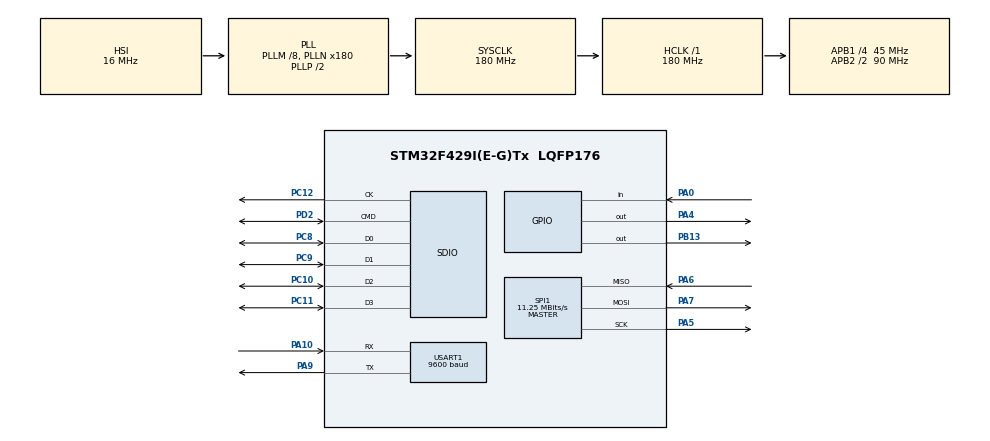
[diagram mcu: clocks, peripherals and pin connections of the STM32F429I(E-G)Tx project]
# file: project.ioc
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FATFS._CODE_PAGE=936
FATFS._MAX_SS=4096
Mcu.Family=STM32F4
Mcu.Name=STM32F429I(E-G)Tx
Mcu.Package=LQFP176
NVIC.PriorityGroup=NVIC_PRIORITYGROUP_4
NVIC.TIM7_IRQn=true\:15\:0\:false\:false\:true\:false\:true
NVIC.TimeBase=TIM7_IRQn
NVIC.TimeBaseIP=TIM7
PA0/WKUP.Signal=GPIO_Input
PA10.Mode=Asynchronous
PA10.Signal=USART1_RX
PA13.Mode=Serial_Wire
PA13.Signal=SYS_JTMS-SWDIO
PA14.Mode=Serial_Wire
PA14.Signal=SYS_JTCK-SWCLK
PA4.Signal=GPIO_Output
PA5.Mode=Full_Duplex_Master
PA5.Signal=SPI1_SCK
PA6.Mode=Full_Duplex_Master
PA6.Signal=SPI1_MISO
PA7.Mode=Full_Duplex_Master
PA7.Signal=SPI1_MOSI
PA9.Mode=Asynchronous
PA9.Signal=USART1_TX
PB13.Signal=GPIO_Output
PC10.Mode=SD_4_bits_Wide_bus
PC10.Signal=SDIO_D2
PC11.Mode=SD_4_bits_Wide_bus
PC11.Signal=SDIO_D3
PC12.Mode=SD_4_bits_Wide_bus
PC12.Signal=SDIO_CK
PC8.Mode=SD_4_bits_Wide_bus
PC8.Signal=SDIO_D0
PC9.Mode=SD_4_bits_Wide_bus
PC9.Signal=SDIO_D1
PD2.Mode=SD_4_bits_Wide_bus
PD2.Signal=SDIO_CMD
PH0/OSC_IN.Mode=HSE-External-Oscillator
PH0/OSC_IN.Signal=RCC_OSC_IN
PH1/OSC_OUT.Mode=HSE-External-Oscillator
PH1/OSC_OUT.Signal=RCC_OSC_OUT
ProjectManager.HeapSize=0x200
ProjectManager.StackSize=0x400
ProjectManager.TargetToolchain=MDK-ARM V5.32
RCC.48MHZClocksFreq_Value=45000000
RCC.AHBFreq_Value=180000000
RCC.APB1CLKDivider=RCC_HCLK_DIV4
RCC.APB1Freq_Value=45000000
RCC.APB1TimFreq_Value=90000000
RCC.APB2CLKDivider=RCC_HCLK_DIV2
RCC.APB2Freq_Value=90000000
RCC.APB2TimFreq_Value=180000000
RCC.CortexFreq_Value=180000000
RCC.HCLKFreq_Value=180000000
RCC.HSE_VALUE=25000000
RCC.HSI_VALUE=16000000
RCC.LSE_VALUE=32768
RCC.PLLM=8
RCC.PLLN=180
RCC.PLLQ=8
RCC.SYSCLKFreq_VALUE=180000000
RCC.SYSCLKSource=RCC_SYSCLKSOURCE_PLLCLK
RCC.VCOOutputFreq_Value=360000000
SDIO.ClockDiv=0
SPI1.BaudRatePrescaler=SPI_BAUDRATEPRESCALER_8
SPI1.CalculateBaudRate=11.25 MBits/s
SPI1.Direction=SPI_DIRECTION_2LINES
SPI1.Mode=SPI_MODE_MASTER
SPI1.VirtualType=VM_MASTER
USART1.BaudRate=9600
USART1.VirtualMode=VM_ASYNC
VP_FATFS_VS_SDIO.Mode=SDIO
VP_SYS_VS_tim7.Mode=TIM7
board=custom

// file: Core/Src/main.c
/* USER CODE BEGIN Header */
/**
  ******************************************************************************
  * @file           : main.c
  * @brief          : Main program body
  ******************************************************************************
  * @attention
  *
  * <h2><center>&copy; Copyright (c) 2021 STMicroelectronics.
  * All rights reserved.</center></h2>
  *
  * This software component is licensed by ST under BSD 3-Clause license,
  * the "License"; You may not use this file except in compliance with the
  * License. You may obtain a copy of the License at:
  *                        opensource.org/licenses/BSD-3-Clause
  *
  ******************************************************************************
  */
#define  _PRINTF_OPEN
/* USER CODE END Header */
#include "main.h"
#include "fatfs.h"
#include "sdio.h"
#include "spi.h"
#include "usart.h"
#include "gpio.h"

/* USER CODE BEGIN Includes */
#include "../../user_bsp/w25qxx/bsp_w25qxx.h"
/* USER CODE END Includes */

/* USER CODE BEGIN PD */
//私人定义
//文件名称
#define FILE_NAME           "all.bin"
//需要写入到FLASH中的起始地址
#define FLASH_ADDRESS       0
/* USER CODE END PD */

void SystemClock_Config(void);

int main(void)
{

    /* MCU Configuration--------------------------------------------------------*/

    /* Reset of all peripherals, Initializes the Flash interface and the Systick. */
    HAL_Init();

    /* Configure the system clock */
    SystemClock_Config();

    /* Initialize all configured peripherals */
    MX_GPIO_Init();
    MX_SDIO_SD_Init();
    MX_SPI1_Init();
    MX_FATFS_Init();
    MX_USART1_UART_Init();
    /* USER CODE BEGIN 2 */
    /**
    **************************************************************
    * Description : 禁用WiFi模块,并拉高PA8 让FATFS认为卡已经插入
    * Argument(s) : none.
    * Return(s)   : none.
    **************************************************************
    */
    HAL_GPIO_WritePin(GPIOB, GPIO_PIN_13, GPIO_PIN_RESET);
    HAL_GPIO_WritePin(GPIOA, GPIO_PIN_8, GPIO_PIN_RESET);

    printf("> 程序开始..\n");

    //flash 初始化
    printf("> FLASH 初始化进行中..\n");
    W25QXX_Init();

    if(W25Qxx_Type != 0)
    {
        printf("> FLASH 初始化成功！\n");

        printf("> SD卡 初始化进行中..\n");
        retSD = f_mount(&SDFatFS, SDPath, 1); //挂载SD卡

        if(retSD == FR_OK)
        {
            printf("> SD卡 挂载成功！\n");
            printf("> 程序正常运行..\n");
            printf("> 请按KEI_1按键进行程序COPY..\n");
            printf("> 请按KEI_2按键进行 FLASH 擦除..\n");
            /* USER CODE END 2 */

            /* Infinite loop */
            while (1)
            {

                /* USER CODE BEGIN 3 */
                if(HAL_GPIO_ReadPin(GPIOA, GPIO_PIN_0) == GPIO_PIN_SET) //检测按键按下
                {
                    while(1)
                    {

                        //接下来就是正常的程序
                        if(HAL_GPIO_ReadPin(GPIOA, GPIO_PIN_0) == GPIO_PIN_RESET)  //检测按键弹出，证明1次按下已结束
                        {
                            //以下，开始
                            //-- > FILE_NAME
                            //-- > FLASH_ADDRESS
                            uint8_t SD_TO_Flash_buf[512] = {0};
                            uint32_t read_len = 0;
                            uint32_t freq = 0;
                            uint32_t flash_address = FLASH_ADDRESS;
                            uint8_t flash_read_check = 0;
                            uint8_t check_flag = 0;

                            retSD = f_open(&SDFile, FILE_NAME, FA_READ); //打开文件  文件属性为只读属性

                            if(retSD == FR_OK)
                            {
                                printf("> 文件打开成功！开始进入写入文件阶段...\n");

                                do
                                {
                                    retSD = f_read(&SDFile, SD_TO_Flash_buf, 512, &read_len); //读取数据
                                    freq++;

                                    if(retSD == FR_OK)
                                    {
                                        if(read_len != 0)   //确保正好等于0
                                        {
                                            W25QXX_Write(SD_TO_Flash_buf, flash_address, read_len); //写入flash

                                            //写入完成后，直接进入校验
                                            for(uint32_t read_len_check = 0; read_len_check < read_len; read_len_check++)
                                            {
                                                W25QXX_Read(&flash_read_check, flash_address + read_len_check, 1); //flash读取一个字节

                                                if(flash_read_check != SD_TO_Flash_buf[read_len_check])
                                                {
                                                    check_flag = 1;
                                                    break;
                                                }

                                                flash_read_check = 0;
                                            }

                                            if(check_flag == 1)
                                            {
                                                printf("> 文件校验错误！错误发生在第 %d 次校验。\n", freq);
                                                break;
                                            }

                                            flash_address += read_len;
                                        }
                                    }
                                    else
                                    {
                                        printf("> 文件读取错误！错误发生在第 %d 次读取。\n", freq);
                                        break;
                                    }
                                }
                                while(read_len == 512);

                                //判断是否校验成功
                                if(check_flag == 0)
                                {
                                    printf("> 文件校验成功！本次写入结束! \n");
                                    printf("> flash 接下来的地址为：%d\n", flash_address);
                                }

                                f_close(&SDFile);  //关闭文件
                            }
                            else
                            {
                                printf("> 文件无法打开，请确认文件完好或是否存在！\n");
                            }

                            //以上结束
                            break;
                        }
                    }

                    printf("> 请按KEI_1按键进行程序COPY..\n");
                    printf("> 请按KEI_2按键进行 FLASH 擦除..\n");
                }

                if(HAL_GPIO_ReadPin(GPIOC, GPIO_PIN_13) == GPIO_PIN_SET) //检测按键按下
                {
                    while(1)
                    {
                        if(HAL_GPIO_ReadPin(GPIOC, GPIO_PIN_13) == GPIO_PIN_RESET)  //检测按键弹出，证明1次按下已结束
                        {
                            printf("> 正在擦除 FLASH 中..\n");
                            W25QXX_ChipErase();
                            printf("> FLASH 擦除结束! \n");
                            break;
                        }
                    }

                    printf("> 请按KEI_1按键进行程序COPY..\n");
                    printf("> 请按KEI_2按键进行 FLASH 擦除..\n");
                }
            }
        }
        else
        {
            printf("> SD卡挂载失败，请重试！\n");
        }
    }
    else
    {
        printf("> FLASH 初始化失败，请重试！\n");
    }

    /* USER CODE END 3 */
}

void SystemClock_Config(void)
{
    RCC_OscInitTypeDef RCC_OscInitStruct = {0};
    RCC_ClkInitTypeDef RCC_ClkInitStruct = {0};

    /** Configure the main internal regulator output voltage
    */
    __HAL_RCC_PWR_CLK_ENABLE();
    __HAL_PWR_VOLTAGESCALING_CONFIG(PWR_REGULATOR_VOLTAGE_SCALE1);
    /** Initializes the RCC Oscillators according to the specified parameters
    * in the RCC_OscInitTypeDef structure.
    */
    RCC_OscInitStruct.OscillatorType = RCC_OSCILLATORTYPE_HSI;
    RCC_OscInitStruct.HSIState = RCC_HSI_ON;
    RCC_OscInitStruct.HSICalibrationValue = RCC_HSICALIBRATION_DEFAULT;
    RCC_OscInitStruct.PLL.PLLState = RCC_PLL_ON;
    RCC_OscInitStruct.PLL.PLLSource = RCC_PLLSOURCE_HSI;
    RCC_OscInitStruct.PLL.PLLM = 8;
    RCC_OscInitStruct.PLL.PLLN = 180;
    RCC_OscInitStruct.PLL.PLLP = RCC_PLLP_DIV2;
    RCC_OscInitStruct.PLL.PLLQ = 8;

    if (HAL_RCC_OscConfig(&RCC_OscInitStruct) != HAL_OK)
    {
        Error_Handler();
    }

    /** Activate the Over-Drive mode
    */
    if (HAL_PWREx_EnableOverDrive() != HAL_OK)
    {
        Error_Handler();
    }

    /** Initializes the CPU, AHB and APB buses clocks
    */
    RCC_ClkInitStruct.ClockType = RCC_CLOCKTYPE_HCLK | RCC_CLOCKTYPE_SYSCLK
                                  | RCC_CLOCKTYPE_PCLK1 | RCC_CLOCKTYPE_PCLK2;
    RCC_ClkInitStruct.SYSCLKSource = RCC_SYSCLKSOURCE_PLLCLK;
    RCC_ClkInitStruct.AHBCLKDivider = RCC_SYSCLK_DIV1;
    RCC_ClkInitStruct.APB1CLKDivider = RCC_HCLK_DIV4;
    RCC_ClkInitStruct.APB2CLKDivider = RCC_HCLK_DIV2;

    if (HAL_RCC_ClockConfig(&RCC_ClkInitStruct, FLASH_LATENCY_5) != HAL_OK)
    {
        Error_Handler();
    }
}

/* USER CODE BEGIN 4 */

void copy_From_SD_TO_Flash(void)
{

}
/* USER CODE END 4 */

void HAL_TIM_PeriodElapsedCallback(TIM_HandleTypeDef * htim)
{
    if (htim->Instance == TIM7)
    {
        HAL_IncTick();
    }

}

void Error_Handler(void)
{
    __disable_irq();
    while (1)
    {
    }
}

/************************ (C) COPYRIGHT STMicroelectronics *****END OF FILE****/
